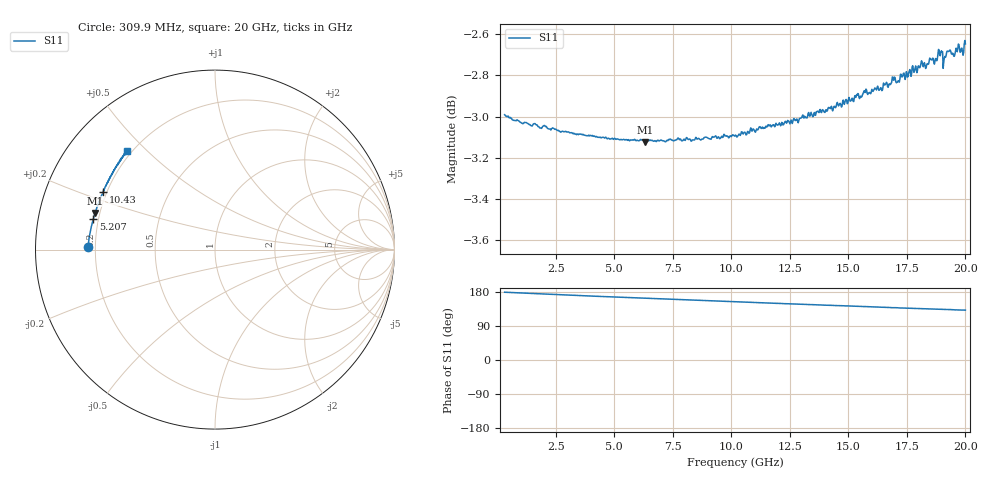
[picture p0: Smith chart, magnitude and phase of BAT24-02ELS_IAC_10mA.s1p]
! Infineon Technologies  Discrete & RF Semiconductors
! BAT24-02ELS
! IAC = 10 mA
! One-Port S-Parameters
# Hz  S  MA  R  50
!f  S11
!Hz  Mag  Ang
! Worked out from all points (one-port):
!   789 points, 309.9 MHz to 20 GHz, reference 50 ohm
!   lowest |S11| = -3.1 dB at 6.307 GHz (marker M1), VSWR 5.62, Z = 9.09 + j7.25 ohm
!   |S11| at or under -10 dB: nowhere
!   S11 on the Smith chart (normalised r, x): 309.9 MHz: 0.17, +0.01; 5.207 GHz: 0.18, +0.12; 10.43 GHz: 0.18, +0.23; 20 GHz: 0.18, +0.44
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3.0985e8  0.7087 178.9
2.783612e9  0.7022 172.1
5.2074e9  0.6989 165.7
5.232388e9  0.6988 165.6
6.30685e9  0.698 163.0
7.70615e9  0.6994 159.6
1.015492e10  0.7004 153.7
1.042979e10  0.7019 153.0
1.262869e10  0.7062 147.9
1.370315e10  0.7101 145.5
1.507746e10  0.7141 142.5
1.64018e10  0.7194 139.3
1.66017e10  0.7211 139.0
1.677661e10  0.7207 138.5
1.695152e10  0.7227 138.1
1.715142e10  0.7221 137.5
1.755122e10  0.724 136.6
1.817591e10  0.7287 135.4
1.837581e10  0.7293 134.8
1.855072e10  0.7308 134.6
1.875062e10  0.7311 134.1
1.895052e10  0.7339 133.8
1.912544e10  0.7322 133.4
1.932534e10  0.7347 133.0
1.950025e10  0.7323 132.5
1.967516e10  0.7354 132.1
1.987506e10  0.7342 131.9
2e10  0.7373 131.6
